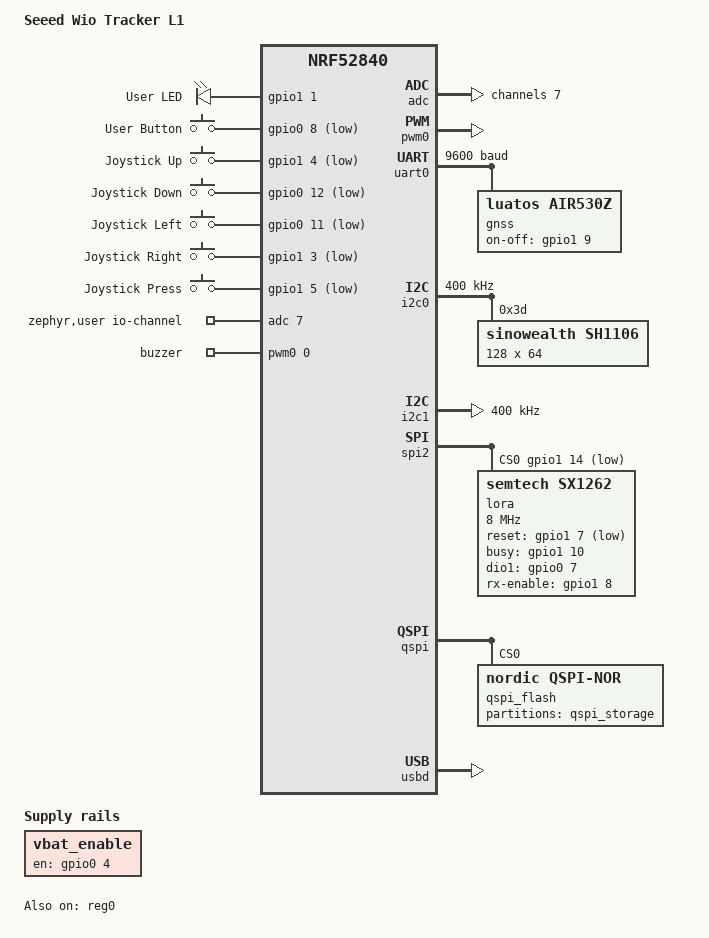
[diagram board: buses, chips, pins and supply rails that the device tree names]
/*
 * Seeed Wio Tracker L1 - nRF52840 + SX1262
 * Copyright (c) 2025 ZephCore
 *
 * SPDX-License-Identifier: MIT
 *
 * Hardware:
 * - nRF52840 SoC with BLE
 * - SX1262 LoRa radio (DIO2 as RF switch, TCXO 1.8V)
 * - P25Q16H 2MB QSPI flash
 * - SH1106 OLED display (I2C 0x3D)
 * - L76KB GPS module
 * - Joystick + user button
 * - Battery voltage ADC
 */

/dts-v1/;
#include <nordic/nrf52840_qiaa.dtsi>
#include <nordic/nrf52840_partition.dtsi>
#include <zephyr/dt-bindings/lora/sx126x.h>
#include <zephyr/dt-bindings/adc/nrf-saadc.h>
#include <zephyr/dt-bindings/input/input-event-codes.h>
#include <zephyr/dt-bindings/pwm/pwm.h>
#include "wio_tracker_l1_nrf52840-pinctrl.dtsi"

/* Delete default partitions from nrf52840_partition.dtsi */
/delete-node/ &boot_partition;
/delete-node/ &slot0_partition;
/delete-node/ &slot1_partition;
/delete-node/ &storage_partition;

/ {
	model = "Seeed Wio Tracker L1";
	compatible = "seeed,wio-tracker-l1";

	chosen {
		zephyr,code-partition = &code_partition;
		zephyr,console = &cdc_acm_uart;
		zephyr,shell-uart = &cdc_acm_uart;
		zephyr,display = &sh1106;
	};

	leds {
		compatible = "gpio-leds";

		user_led: led_0 {
			gpios = <&gpio1 1 GPIO_ACTIVE_HIGH>;
			label = "User LED";
		};
	};

	buttons: buttons {
		compatible = "gpio-keys";

		user_button: button_0 {
			gpios = <&gpio0 8 (GPIO_PULL_UP | GPIO_ACTIVE_LOW)>;
			zephyr,code = <INPUT_KEY_0>;
			label = "User Button";
		};

		joystick_up: button_1 {
			gpios = <&gpio1 4 (GPIO_PULL_UP | GPIO_ACTIVE_LOW)>;
			zephyr,code = <INPUT_KEY_UP>;
			label = "Joystick Up";
		};

		joystick_down: button_2 {
			gpios = <&gpio0 12 (GPIO_PULL_UP | GPIO_ACTIVE_LOW)>;
			zephyr,code = <INPUT_KEY_DOWN>;
			label = "Joystick Down";
		};

		joystick_left: button_3 {
			gpios = <&gpio0 11 (GPIO_PULL_UP | GPIO_ACTIVE_LOW)>;
			zephyr,code = <INPUT_KEY_LEFT>;
			label = "Joystick Left";
		};

		joystick_right: button_4 {
			gpios = <&gpio1 3 (GPIO_PULL_UP | GPIO_ACTIVE_LOW)>;
			zephyr,code = <INPUT_KEY_RIGHT>;
			label = "Joystick Right";
		};

		joystick_press: button_5 {
			gpios = <&gpio1 5 (GPIO_PULL_UP | GPIO_ACTIVE_LOW)>;
			zephyr,code = <INPUT_KEY_ENTER>;
			label = "Joystick Press";
		};
	};

	/* Input filter: user button long-press detection (1000ms) */
	user_btn_longpress {
		compatible = "zephyr,input-longpress";
		input = <&buttons>;
		input-codes = <INPUT_KEY_0>;
		short-codes = <INPUT_KEY_A>;
		long-codes = <INPUT_KEY_POWER>;
		long-delay-ms = <1000>;
	};

	/* Input filter: user button multi-tap detection
	 * 1 tap  (400ms wait) → KEY_1 = page next on OLED
	 * 2 taps (400ms wait) → KEY_B = LED heartbeat toggle
	 * 3 taps (400ms wait) → KEY_D = buzzer mute toggle
	 * 4 taps (400ms wait) → KEY_C = GPS on/off
	 * 5 taps (immediate)  → KEY_E = flood advert */
	user_btn_multitap {
		compatible = "zephcore,input-multi-tap";
		/* No 'input' phandle — listen to ALL devices.
		 * KEY_A is emitted by the longpress pseudo-device,
		 * not by &buttons, so we must not filter by device. */
		input-codes = <INPUT_KEY_A>;
		tap-codes = <INPUT_KEY_1 INPUT_KEY_B INPUT_KEY_D INPUT_KEY_C INPUT_KEY_E>;
		tap-delay-ms = <400>;
	};

	/* Battery voltage enable and ADC - on-demand only to save power */
	vbat_enable: vbat-enable {
		compatible = "regulator-fixed";
		regulator-name = "vbat-enable";
		enable-gpios = <&gpio0 4 GPIO_ACTIVE_HIGH>;
		/* NOT regulator-boot-on - enabled on-demand in ZephyrBoard.cpp */
	};

	/* Battery ADC channel reference for ZephyrBoard */
	zephyr,user {
		io-channels = <&adc 7>;
		vbat-mv-multiplier = <7236>;  /* 2:1 divider, 3.6V ref; +0.5% for nRF SAADC gain error */
	};

	/* Buzzer on PWM0 channel 0 (P1.00) - no enable pin needed */
	pwmbuzzer {
		compatible = "pwm-leds";
		buzzer: buzzer {
			pwms = <&pwm0 0 PWM_MSEC(20) PWM_POLARITY_NORMAL>;
		};
	};

	aliases {
		led0 = &user_led;
		sw0 = &user_button;
		lora0 = &lora;
		watchdog0 = &wdt0;
		buzzer = &buzzer;
	};
};

&reg0 {
	status = "okay";
};

&reg1 {
	regulator-initial-mode = <NRF5X_REG_MODE_DCDC>;
};

&adc {
	status = "okay";
	#address-cells = <1>;
	#size-cells = <0>;

	/* Battery voltage on P0.31 (AIN7) */
	channel@7 {
		reg = <7>;
		zephyr,gain = "ADC_GAIN_1_6";
		zephyr,reference = "ADC_REF_INTERNAL";
		zephyr,acquisition-time = <ADC_ACQ_TIME(ADC_ACQ_TIME_MICROSECONDS, 10)>;
		zephyr,input-positive = <NRF_SAADC_AIN7>;
		zephyr,resolution = <12>;
	};
};

&uicr {
	nfct-pins-as-gpios;
};

&gpiote {
	status = "okay";
};

&gpio0 {
	status = "okay";
};

&gpio1 {
	status = "okay";

	/* NOTE: buzzer-off gpio-hog REMOVED - buzzer pin is now managed by PWM
	 * driver. When PWM is not driving, the pin is low (no current draw). */

	/* NOTE: GPS enable hog REMOVED - Feb 6 working version had no GPIO hog
	 * and GPS worked fine. The L76KB module may have internal pull-up or
	 * the Arduino bootloader leaves it enabled. */
};

/* PWM0 for buzzer */
&pwm0 {
	status = "okay";
	pinctrl-0 = <&pwm0_default>;
	pinctrl-1 = <&pwm0_sleep>;
	pinctrl-names = "default", "sleep";
};

/* GPS L76KB module - NOTE: Feb 6 working version had no GPIO control nodes.
 * The GPS just worked without any power control! Keeping it simple. */

/* Quectel L76KB GNSS on UART0 - 9600 baud (PCAS/CASIC protocol)
 * Uses Zephyr luatos,air530z driver (same PCAS command set for
 * constellation config via PCAS04, fix rate via PCAS02, etc.)
 * on-off-gpios = GPS enable pin (P1.09), managed by driver. */
&uart0 {
	compatible = "nordic,nrf-uarte";
	status = "okay";
	current-speed = <9600>;
	pinctrl-0 = <&uart0_default>;
	pinctrl-1 = <&uart0_sleep>;
	pinctrl-names = "default", "sleep";
	/* No hw-flow-control - GPS doesn't use RTS/CTS */

	gnss: gnss {
		compatible = "luatos,air530z";
		on-off-gpios = <&gpio1 9 GPIO_ACTIVE_HIGH>;
	};
};

/* I2C0 for onboard OLED display only.
 * External environment/power sensors live on the Grove bus (&i2c1). */
&i2c0 {
	compatible = "nordic,nrf-twim";
	status = "okay";
	clock-frequency = <I2C_BITRATE_FAST>;
	pinctrl-0 = <&i2c0_default>;
	pinctrl-1 = <&i2c0_sleep>;
	pinctrl-names = "default", "sleep";
	/* SH1106 sends 1 cmd + 128 data = 129 bytes per page write.
	 * nRF TWIM needs an internal buffer >= this size. */
	zephyr,concat-buf-size = <256>;
	zephyr,flash-buf-max-size = <256>;

	sh1106: sh1106@3d {
		compatible = "sinowealth,sh1106";
		reg = <0x3d>;
		width = <128>;
		height = <64>;
		segment-offset = <2>;    /* SH1106 has 2-column offset */
		page-offset = <0>;
		display-offset = <0>;
		multiplex-ratio = <63>;
		segment-remap;
		com-invdir;
		prechargep = <0x22>;
	};
};

/* I2C1 for Grove connector — external environment/power sensors.
 * Auto-detected at runtime; absent sensors fail device_is_ready() and
 * are skipped harmlessly by ZephyrEnvSensors. */
&i2c1 {
	compatible = "nordic,nrf-twim";
	status = "okay";
	clock-frequency = <I2C_BITRATE_FAST>;
	pinctrl-0 = <&i2c1_default>;
	pinctrl-1 = <&i2c1_sleep>;
	pinctrl-names = "default", "sleep";

	/* All supported environment & power sensors — auto-detected at runtime */
	#include "../../common/sensors-i2c.dtsi"
};

/* SPI2 (SPIM2) for LoRa SX1262.
 * Must NOT use SPIM0 (shares instance 0 with I2C0/OLED) or SPIM1 (shares
 * instance 1 with TWIM1, which drives the Grove I2C bus &i2c1). SPIM2 is a
 * dedicated SPI-only instance, so the radio and both I2C buses coexist. */
&spi2 {
	compatible = "nordic,nrf-spim";
	status = "okay";
	cs-gpios = <&gpio1 14 GPIO_ACTIVE_LOW>;
	pinctrl-0 = <&spi2_default>;
	pinctrl-1 = <&spi2_sleep>;
	pinctrl-names = "default", "sleep";

	lora: lora@0 {
		compatible = "semtech,sx1262";
		reg = <0>;
		reset-gpios = <&gpio1 7 GPIO_ACTIVE_LOW>;
		busy-gpios = <&gpio1 10 GPIO_ACTIVE_HIGH>;
		dio1-gpios = <&gpio0 7 (GPIO_PULL_DOWN | GPIO_ACTIVE_HIGH)>;
		/* RXEN on P1.08, DIO2 as RF switch for TX */
		rx-enable-gpios = <&gpio1 8 GPIO_ACTIVE_HIGH>;
		dio2-tx-enable;
		dio3-tcxo-voltage = <SX126X_DIO3_TCXO_1V8>;
		tcxo-power-startup-delay-ms = <5>;
		spi-max-frequency = <8000000>;
		rx-boosted;
	};
};

/* QSPI Flash - P25Q16H 2MB - single-bit mode at 16MHz (matches Arduino) */
&qspi {
	status = "okay";
	pinctrl-0 = <&qspi_default>;
	pinctrl-1 = <&qspi_sleep>;
	pinctrl-names = "default", "sleep";

	qspi_flash: qspi_flash@0 {
		compatible = "nordic,qspi-nor";
		reg = <0>;
		writeoc = "pp";           /* Single-bit page program (universal) */
		readoc = "fastread";      /* Single-bit fast read (universal) */
		sck-frequency = <16000000>; /* 16 MHz (matches Arduino) */
		jedec-id = [85 60 15];    /* P25Q16H */
		sfdp-bfp = [
			e5 20 f1 ff  ff ff ff 01  44 eb 08 6b  08 3b 04 bb
			ee ff ff ff  ff ff 00 ff  ff ff 00 ff  0c 20 0f 52
			10 d8 00 ff
		];
		size = <16777216>;        /* 2MB = 16Mbit */
		has-dpd;
		t-enter-dpd = <3000>;
		t-exit-dpd = <50000>;     /* 50ms for reliable wakeup */
		/* quad-enable not needed for single-bit mode */
	};
};

zephyr_udc0: &usbd {
	compatible = "nordic,nrf-usbd";
	status = "okay";

	cdc_acm_uart: cdc_acm_uart {
		compatible = "zephyr,cdc-acm-uart";
	};
};

/* Arduino MeshCore compatible partition layout (SoftDevice v7) */
#include "../../common/nrf52_partitions_sdv7.dtsi"

/* External QSPI flash partitions */
&qspi_flash {
	partitions {
		compatible = "fixed-partitions";
		#address-cells = <1>;
		#size-cells = <1>;

		/* Full 2MB for LittleFS storage */
		qspi_storage_partition: partition@0 {
			label = "qspi_storage";
			reg = <0x00000000 0x00200000>;
		};
	};
};
#include "../../common/nrf52_wakeup.dtsi"
